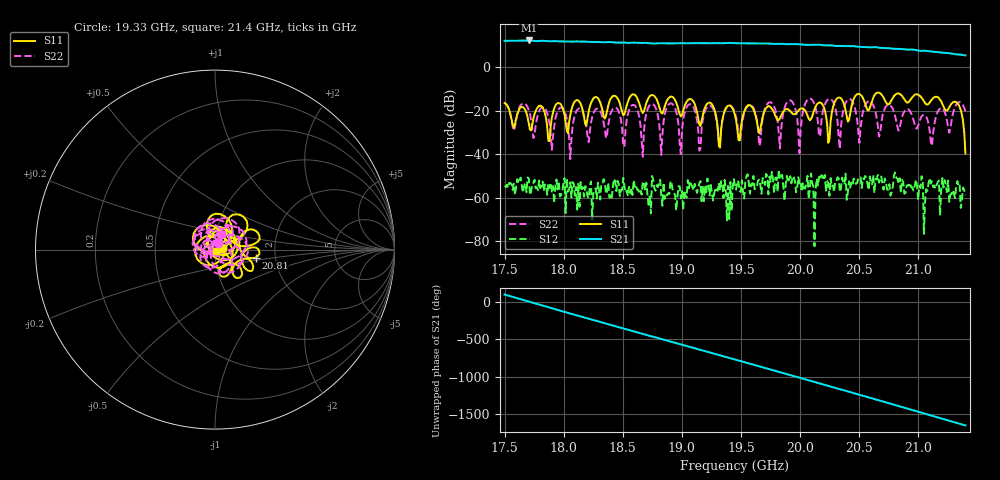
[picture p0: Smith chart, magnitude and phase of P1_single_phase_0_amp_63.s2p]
!Created with skrf (http://scikit-rf.org).
# GHz S RI R 50.0
!freq ReS11 ImS11 ReS21 ImS21 ReS12 ImS12 ReS22 ImS22
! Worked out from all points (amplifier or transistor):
!   401 points, 17.5 GHz to 21.4 GHz, reference 50 ohm
!   highest |S21| = 12.2 dB at 17.7 GHz (marker M1)
!   |S21| within 3 dB of that: start of sweep to 20.54 GHz
!   unconditionally stable (mu >= 1): start of sweep to end of sweep
!   at 18.14 GHz: K = 55.50, MAG = 11.8 dB, |S12| = -52.9 dB
!   at 19.45 GHz: K = 78.50, MAG = 11.0 dB, |S12| = -55.0 dB
!   at 21.4 GHz: K = 234.17, MAG = 5.4 dB, |S12| = -58.9 dB
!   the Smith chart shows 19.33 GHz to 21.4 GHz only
!   S11 on the Smith chart (normalised r, x): 19.33 GHz: 1.08, +0.02; 20.81 GHz: 1.58, -0.15; 21.4 GHz: 1.02, -0.01
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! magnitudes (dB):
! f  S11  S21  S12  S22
! 17.5 GHz  -16.5  12.1  -54.5  -16.6
! 17.7 GHz  -25.8  12.2  -51.1  -19.9
! 18.06 GHz  -22.0  11.7  -52.9  -42.3
! 18.15 GHz  -18.3  11.7  -56.1  -19.7
! 18.81 GHz  -17.7  11.0  -52.8  -25.4
! 19.07 GHz  -14.6  11.0  -52.4  -17.0
! 19.33 GHz  -28.3  10.9  -52.5  -28.1
! 19.45 GHz  -22.1  11.0  -55.0  -21.0
! 19.66 GHz  -28.4  10.8  -54.1  -34.8
! 19.75 GHz  -18.5  10.8  -52.7  -16.2
! 19.83 GHz  -23.6  10.7  -51.5  -37.3
! 19.92 GHz  -20.2  10.6  -50.2  -15.3
! 20 GHz  -19.5  10.5  -53.9  -39.6
! 20.1 GHz  -22.7  10.2  -53.4  -15.1
! 20.34 GHz  -14.0  9.7  -57.4  -37.6
! 20.42 GHz  -24.2  9.6  -52.5  -14.7
! 20.5 GHz  -12.4  9.3  -51.3  -34.8
! 20.76 GHz  -16.9  8.7  -53.9  -17.3
! 20.81 GHz  -12.8  8.4  -48.5  -22.5
! 21.12 GHz  -14.9  7.1  -52.5  -36.1
! 21.32 GHz  -16.1  5.9  -54.6  -17.4
! 21.4 GHz  -39.7  5.4  -58.9  -20.4
